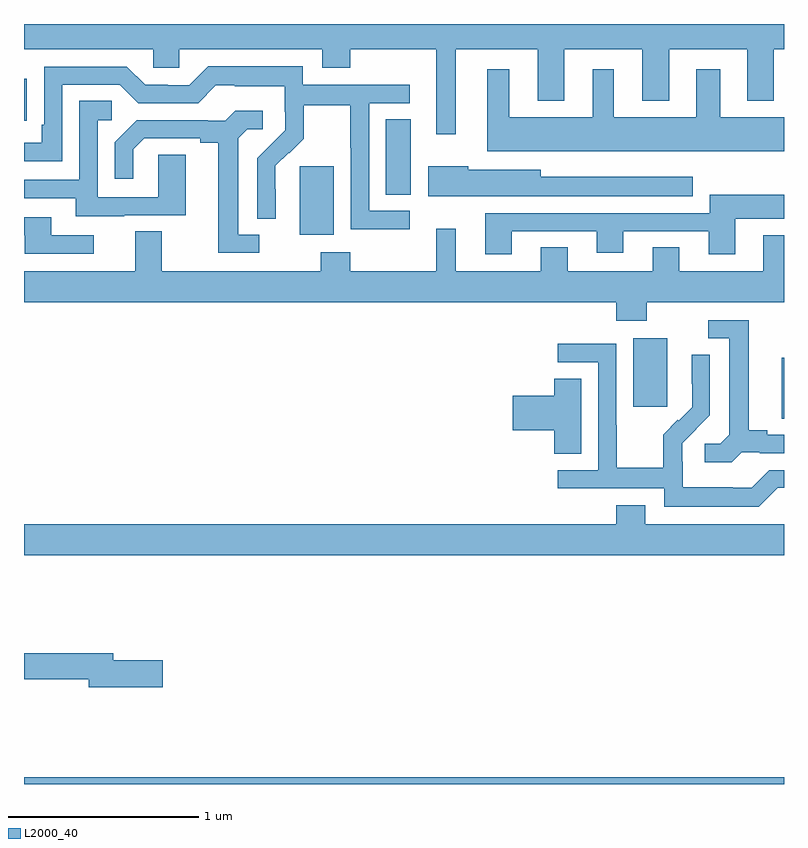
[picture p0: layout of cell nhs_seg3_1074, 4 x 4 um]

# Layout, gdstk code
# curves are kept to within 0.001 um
import gdstk
lib = gdstk.Library(unit=1e-6, precision=1e-09)
def R(c, l, rs):  # rectangles x0, y0, x1, y1
    for r in rs: c.add(gdstk.rectangle(r[:2], r[2:], *l))
def P(c, l, *ps):  # polygons
    for p in ps: c.add(gdstk.Polygon(p, *l))
L2000_40 = (2000, 40)

nhs_seg3_1074 = lib.new_cell('nhs_seg3_1074')
R(nhs_seg3_1074, L2000_40, [(167,678.4,171,678.436), (170.987,680.323,171,680.643), (170.207,680.385,170.386,680.746), (168.452,681.29,168.631,681.651), (168.905,681.502,169.036,681.899), (167,681.892,167.015,682.111)])
P(nhs_seg3_1074, L2000_40, [(167,682.268),(167.679,682.268),(167.679,682.17),(167.817,682.17),(167.817,682.268),(168.569,682.268),(168.569,682.169),(168.717,682.169),(168.717,682.268),(169.169,682.268),(169.169,681.819),(169.273,681.819),(169.273,682.268),(169.703,682.268),(169.703,681.995),(169.843,681.995),(169.843,682.268),(170.255,682.268),(170.255,681.995),(170.395,681.995),(170.395,682.268),(170.807,682.268),(170.807,681.995),(170.947,681.995),(170.947,682.268),(171,682.268),(171,682.4),(167,682.4)],
  [(169.03,681.417),(168.816,681.417),(168.816,681.984),(169.03,681.984),(169.03,682.08),(168.468,682.08),(168.468,682.177),(167.971,682.177),(167.871,682.077),(167.756,682.077),(167.756,682.08),(167.637,682.08),(167.541,682.176),(167.106,682.176),(167.106,681.871),(167.093,681.871),(167.093,681.774),(167,681.774),(167,681.678),(167.202,681.678),(167.202,682.08),(167.505,682.08),(167.601,681.984),(167.916,681.984),(168.009,682.077),(168.109,682.077),(168.109,682.073),(168.372,682.073),(168.372,681.939),(168.374,681.939),(168.374,681.842),(168.228,681.694),(168.228,681.376),(168.324,681.376),(168.323,681.653),(168.393,681.723),(168.396,681.72),(168.473,681.797),(168.473,681.972),(168.718,681.972),(168.718,681.748),(168.72,681.748),(168.72,681.319),(169.03,681.319)],
  [(171,681.91),(170.665,681.91),(170.665,682.162),(170.537,682.162),(170.537,681.91),(170.104,681.91),(170.104,682.162),(169.994,682.162),(169.994,681.91),(169.555,681.91),(169.555,682.162),(169.439,682.162),(169.439,681.731),(171,681.731)],
  [(167.527,681.393),(167.851,681.393),(167.851,681.713),(167.706,681.713),(167.706,681.489),(167.388,681.489),(167.388,681.894),(167.461,681.894),(167.461,681.995),(167.292,681.995),(167.292,681.579),(167,681.579),(167,681.483),(167.273,681.483),(167.273,681.389),(167.527,681.389)],
  [(168.238,681.291),(168.127,681.291),(168.127,681.799),(168.174,681.846),(168.256,681.846),(168.256,681.943),(168.112,681.943),(168.06,681.891),(167.966,681.891),(167.966,681.894),(167.594,681.894),(167.478,681.778),(167.478,681.585),(167.575,681.585),(167.575,681.741),(167.632,681.798),(167.927,681.798),(167.927,681.776),(168.023,681.776),(168.023,681.195),(168.238,681.195)],
  [(170.521,681.595),(169.72,681.595),(169.72,681.634),(169.338,681.634),(169.338,681.652),(169.128,681.652),(169.128,681.494),(170.521,681.494)],
  [(169.567,681.309),(170.015,681.309),(170.015,681.197),(170.155,681.197),(170.155,681.309),(170.603,681.309),(170.603,681.189),(170.743,681.189),(170.743,681.374),(171,681.374),(171,681.502),(170.609,681.502),(170.609,681.405),(169.427,681.405),(169.427,681.189),(169.567,681.189)],
  [(167.368,681.288),(167.143,681.288),(167.143,681.384),(167,681.384),(167,681.288),(167.003,681.288),(167.003,681.192),(167.368,681.192)],
  [(170.117,680.837),(170.277,680.837),(170.277,680.936),(171,680.936),(171,681.289),(170.891,681.289),(170.891,681.1),(170.449,681.1),(170.449,681.224),(170.309,681.224),(170.309,681.1),(169.861,681.1),(169.861,681.224),(169.721,681.224),(169.721,681.1),(169.273,681.1),(169.273,681.322),(169.169,681.322),(169.169,681.1),(168.717,681.1),(168.717,681.199),(168.562,681.199),(168.562,681.1),(167.725,681.1),(167.725,681.308),(167.585,681.308),(167.585,681.1),(167,681.1),(167,680.936),(170.117,680.936)],
  [(170.778,680.145),(170.872,680.145),(170.872,680.142),(171,680.142),(171,680.238),(170.911,680.238),(170.911,680.261),(170.815,680.261),(170.815,680.841),(170.601,680.841),(170.601,680.745),(170.711,680.745),(170.711,680.237),(170.664,680.19),(170.583,680.19),(170.583,680.093),(170.726,680.093)],
  [(170.967,679.959),(171,679.959),(171,680.052),(170.922,680.052),(170.829,679.959),(170.729,679.959),(170.729,679.963),(170.466,679.963),(170.466,680.097),(170.464,680.097),(170.464,680.194),(170.61,680.342),(170.61,680.66),(170.514,680.66),(170.514,680.506),(170.516,680.506),(170.516,680.384),(170.445,680.313),(170.442,680.316),(170.365,680.239),(170.365,680.065),(170.121,680.065),(170.121,680.288),(170.118,680.288),(170.118,680.718),(169.809,680.718),(169.809,680.619),(170.022,680.619),(170.022,680.052),(169.809,680.052),(169.809,679.956),(170.37,679.956),(170.37,679.859),(170.867,679.859)],
  [(169.933,680.534),(169.79,680.534),(169.79,680.444),(169.572,680.444),(169.572,680.261),(169.79,680.261),(169.79,680.137),(169.933,680.137)],
  [(171,679.768),(170.269,679.768),(170.269,679.867),(170.117,679.867),(170.117,679.768),(167,679.768),(167,679.604),(171,679.604)],
  [(167.731,679.052),(167.47,679.052),(167.47,679.088),(167,679.088),(167,678.952),(167.342,678.952),(167.342,678.91),(167.731,678.91)])

lib.write_gds('nhs_seg3_1074.gds')
